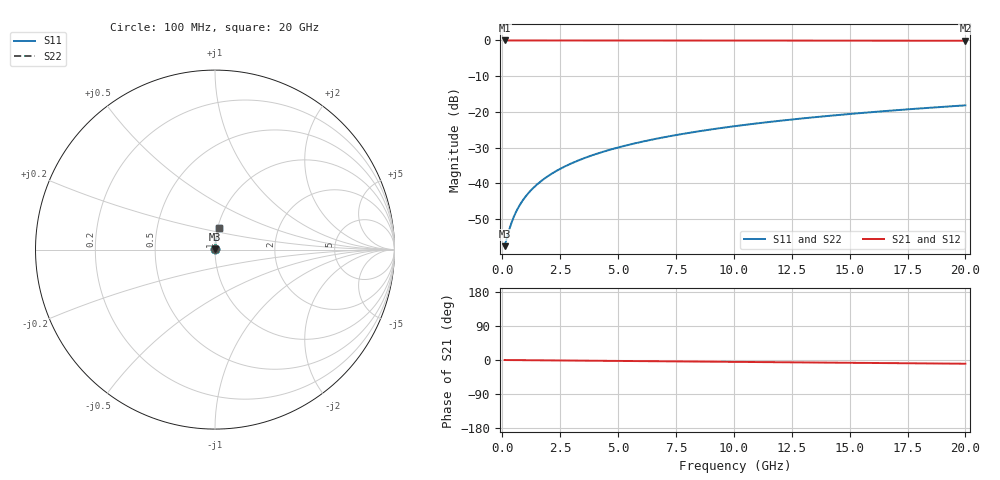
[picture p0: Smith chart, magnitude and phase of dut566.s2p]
! Touchstone file exported from HFSS 2026.1.0
!  File:  C:/ffzhzh/LocalFiles/Ansys_Project_Files/temp_train_TSV_566_1783024628_53980.aedt
!  Generated:  04:40:02 AM Jul  3, 2026
!  Design:  TSV
!  Project:  temp_train_TSV_566_1783024628_53980
! Variables:
!  h_bsmrdl = 2um
!  h_ox = 20um
!  h_rdl = 5um
!  h_sub = 60.62um
!  h_tmrdl = 5um
!  h_tsv = 60.62um
!  h_via = 3um
!  l_bsmrdl = 300um
!  l_sub = 404.98um
!  l_tmrdl = 200um
!  m_sub = 200um
!  pitch = 49.79um
!  r_tsv = 2.49um
!  s_tmrdl = 10um
!  w_bsmrdl = 18um
!  w_sub = 500um
!  w_tmrdl = 12um
!  x_tsv_center1 = 206um
!  x_tsv_center2 = 524um
!  x_tsv_center3 = 736um
!  x_tsv_center4 = 1054um
!  x_tsv_center5 = 1266um
!  x_tsv_center6 = 1584um
# GHz S MA R 50.000000
! Terminal data exported
! Port[1] = TSV1_1_T1
! Port[2] = TSV1_1_T2
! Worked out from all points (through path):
!   200 points, 100 MHz to 20 GHz, reference 50 ohm
!   highest |S21| = -0.01 dB at 100 MHz (marker M1); lowest = -0.1 dB at 20 GHz (marker M2)
!   group delay of S21, straight-line fit = 1.36 ps
!   lowest |S11| = -57.6 dB at 100 MHz (marker M3), VSWR 1.00, Z = 50.1 + j0.0643 ohm
!   |S11| at or under -10 dB: start of sweep to end of sweep
!   |S22| runs from -57.6 to -18.2 dB; largest |S21 - S12| = 7.6e-15
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0.1  0.001315 29.2  0.9989 -0.1  0.9989 -0.1  0.001315 29.2
! Gamma 0 0 0 0
! Port Impedance 50 0 50 0
0.3  0.002245 58.8  0.9988 -0.2  0.9988 -0.2  0.002245 58.8
0.4  0.002814 65.4  0.9988 -0.2  0.9988 -0.2  0.002814 65.4
0.5  0.003405 69.7  0.9988 -0.3  0.9988 -0.3  0.003405 69.7
0.6  0.004009 72.7  0.9988 -0.3  0.9988 -0.3  0.004009 72.7
0.7  0.004621 74.8  0.9988 -0.4  0.9988 -0.4  0.004621 74.8
0.9  0.005857 77.8  0.9988 -0.5  0.9988 -0.5  0.005857 77.8
1.2  0.007729 80.4  0.9988 -0.6  0.9988 -0.6  0.007729 80.4
1.4  0.008983 81.5  0.9987 -0.7  0.9987 -0.7  0.008983 81.5
1.7  0.01087 82.7  0.9987 -0.9  0.9987 -0.9  0.01087 82.7
2.2  0.01402 83.8  0.9987 -1.1  0.9987 -1.1  0.01402 83.8
2.8  0.0178 84.5  0.9986 -1.4  0.9986 -1.4  0.0178 84.5
3.5  0.02222 84.8  0.9984 -1.8  0.9984 -1.8  0.02222 84.8
4.2  0.02663 84.9  0.9983 -2.1  0.9983 -2.1  0.02663 84.9
5  0.03166 84.9  0.998 -2.5  0.998 -2.5  0.03166 84.9
5.9  0.0373 84.7  0.9978 -2.9  0.9978 -2.9  0.0373 84.7
6.8  0.04292 84.4  0.9974 -3.4  0.9974 -3.4  0.04292 84.4
8.3  0.05226 83.9  0.9968 -4.1  0.9968 -4.1  0.05226 83.9
10.1  0.06338 83.2  0.996 -5.0  0.996 -5.0  0.06338 83.2
13.4  0.08358 81.7  0.9941 -6.6  0.9941 -6.6  0.08358 81.7
16.7  0.1035 80.3  0.9919 -8.2  0.9919 -8.2  0.1035 80.3
20  0.1232 78.8  0.9894 -9.8  0.9894 -9.8  0.1232 78.8
